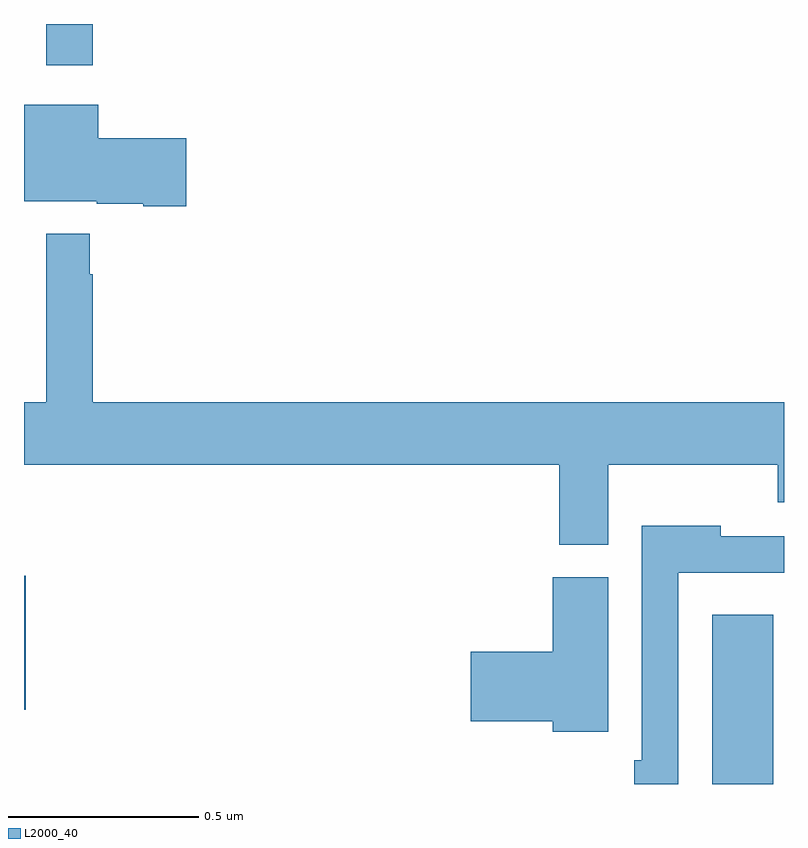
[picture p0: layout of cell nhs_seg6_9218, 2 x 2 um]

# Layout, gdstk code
import gdstk
lib = gdstk.Library(unit=1e-6, precision=1e-09)
def R(c, l, rs):  # rectangles x0, y0, x1, y1
    for r in rs: c.add(gdstk.rectangle(r[:2], r[2:], *l))
def P(c, l, *ps):  # polygons
    for p in ps: c.add(gdstk.Polygon(p, *l))
L2000_40 = (2000, 40)

nhs_seg6_9218 = lib.new_cell('nhs_seg6_9218')
R(nhs_seg6_9218, L2000_40, [(232.811,942.5,232.972,942.946), (231,942.695,231.005,943.048), (231.059,944.391,231.181,944.5)])
P(nhs_seg6_9218, L2000_40, [(231.427,944.199),(231.196,944.199),(231.196,944.287),(231,944.287),(231,944.033),(231.192,944.033),(231.192,944.027),(231.314,944.027),(231.314,944.021),(231.427,944.021)],
  [(232.537,943.34),(232.984,943.34),(232.984,943.241),(233,943.241),(233,943.504),(231.181,943.504),(231.181,943.841),(231.173,943.841),(231.173,943.948),(231.059,943.948),(231.059,943.504),(231,943.504),(231,943.34),(232.409,943.34),(232.409,943.129),(232.537,943.129)],
  [(232.722,943.056),(233,943.056),(233,943.152),(232.833,943.152),(232.833,943.18),(232.626,943.18),(232.626,942.562),(232.606,942.562),(232.606,942.5),(232.722,942.5)],
  [(232.537,943.044),(232.391,943.044),(232.391,942.848),(232.176,942.848),(232.176,942.665),(232.391,942.665),(232.391,942.638),(232.537,942.638)])

lib.write_gds('nhs_seg6_9218.gds')
